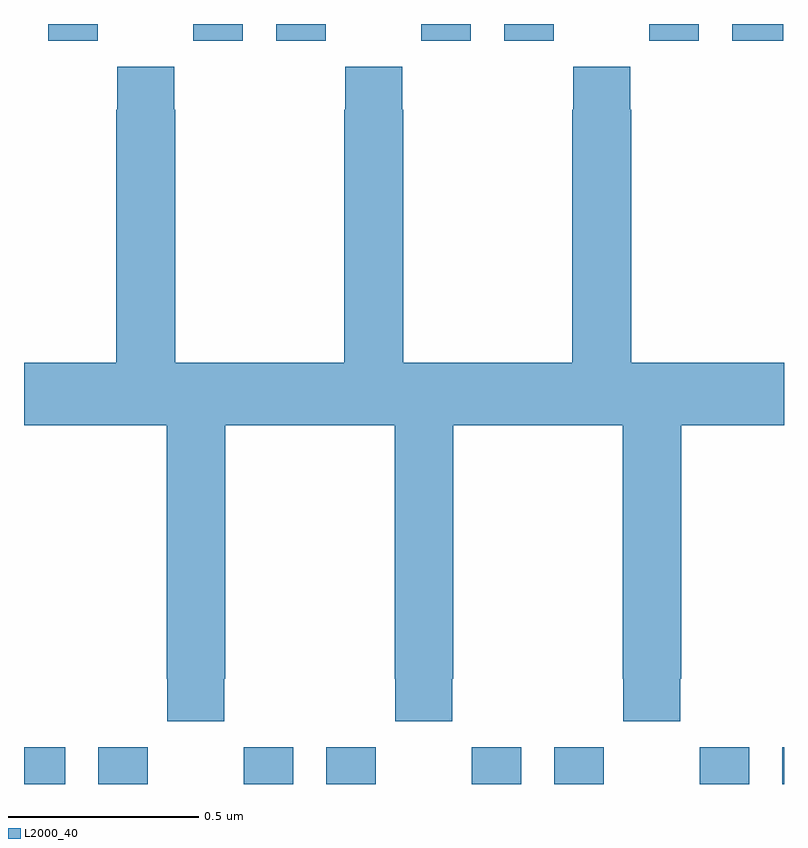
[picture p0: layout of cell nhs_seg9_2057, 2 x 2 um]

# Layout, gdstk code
import gdstk
lib = gdstk.Library(unit=1e-6, precision=1e-09)
def R(c, l, rs):  # rectangles x0, y0, x1, y1
    for r in rs: c.add(gdstk.rectangle(r[:2], r[2:], *l))
def P(c, l, *ps):  # polygons
    for p in ps: c.add(gdstk.Polygon(p, *l))
L2000_40 = (2000, 40)

nhs_seg9_2057 = lib.new_cell('nhs_seg9_2057')
R(nhs_seg9_2057, L2000_40, [(136,1171.5,136.108,1171.597), (136.196,1171.5,136.326,1171.597), (136.578,1171.5,136.708,1171.597), (136.796,1171.5,136.926,1171.597), (137.178,1171.5,137.308,1171.597), (137.396,1171.5,137.526,1171.597), (137.778,1171.5,137.908,1171.597), (137.996,1171.5,138,1171.597), (136.064,1173.456,136.194,1173.5), (136.446,1173.456,136.576,1173.5), (136.664,1173.456,136.794,1173.5), (137.046,1173.456,137.176,1173.5), (137.264,1173.456,137.394,1173.5), (137.646,1173.456,137.776,1173.5), (137.864,1173.456,137.998,1173.5)])
P(nhs_seg9_2057, L2000_40, [(136.527,1171.777),(136.53,1171.777),(136.53,1172.444),(136.975,1172.444),(136.975,1171.777),(136.977,1171.777),(136.977,1171.665),(137.127,1171.665),(137.127,1171.777),(137.13,1171.777),(137.13,1172.444),(137.575,1172.444),(137.575,1171.777),(137.577,1171.777),(137.577,1171.665),(137.727,1171.665),(137.727,1171.777),(137.73,1171.777),(137.73,1172.444),(138,1172.444),(138,1172.608),(137.598,1172.608),(137.598,1173.275),(137.595,1173.275),(137.595,1173.388),(137.445,1173.388),(137.445,1173.275),(137.443,1173.275),(137.443,1172.608),(136.998,1172.608),(136.998,1173.275),(136.995,1173.275),(136.995,1173.388),(136.845,1173.388),(136.845,1173.275),(136.843,1173.275),(136.843,1172.608),(136.398,1172.608),(136.398,1173.275),(136.395,1173.275),(136.395,1173.388),(136.245,1173.388),(136.245,1173.275),(136.243,1173.275),(136.243,1172.608),(136,1172.608),(136,1172.444),(136.375,1172.444),(136.375,1171.777),(136.377,1171.777),(136.377,1171.665),(136.527,1171.665)])

lib.write_gds('nhs_seg9_2057.gds')
